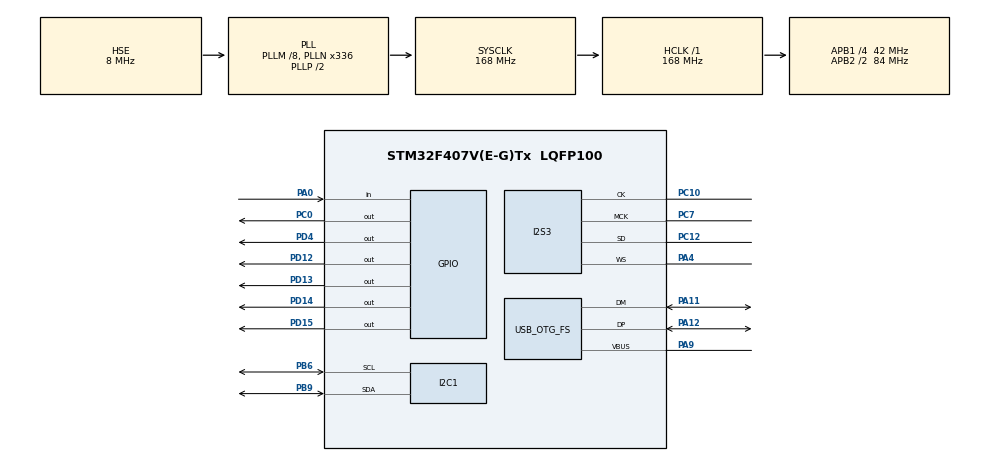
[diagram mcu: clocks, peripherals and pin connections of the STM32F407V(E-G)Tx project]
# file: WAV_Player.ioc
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Dma.Request0=SPI3_TX
Dma.SPI3_TX.0.Direction=DMA_MEMORY_TO_PERIPH
Dma.SPI3_TX.0.FIFOMode=DMA_FIFOMODE_ENABLE
Dma.SPI3_TX.0.FIFOThreshold=DMA_FIFO_THRESHOLD_FULL
Dma.SPI3_TX.0.Instance=DMA1_Stream5
Dma.SPI3_TX.0.MemBurst=DMA_MBURST_SINGLE
Dma.SPI3_TX.0.MemDataAlignment=DMA_MDATAALIGN_HALFWORD
Dma.SPI3_TX.0.MemInc=DMA_MINC_ENABLE
Dma.SPI3_TX.0.Mode=DMA_CIRCULAR
Dma.SPI3_TX.0.PeriphBurst=DMA_PBURST_SINGLE
Dma.SPI3_TX.0.PeriphDataAlignment=DMA_PDATAALIGN_HALFWORD
Dma.SPI3_TX.0.PeriphInc=DMA_PINC_DISABLE
Dma.SPI3_TX.0.Priority=DMA_PRIORITY_LOW
I2S3.AudioFreq=I2S_AUDIOFREQ_44K
I2S3.ErrorAudioFreq=0.24 %
I2S3.FullDuplexMode=I2S_FULLDUPLEXMODE_DISABLE
I2S3.Instance=SPI$Index
I2S3.RealAudioFreq=44.108 KHz
I2S3.VirtualMode=I2S_MODE_MASTER
Mcu.Family=STM32F4
Mcu.Name=STM32F407V(E-G)Tx
Mcu.Package=LQFP100
NVIC.DMA1_Stream5_IRQn=true\:0\:0\:false\:false\:true\:false\:true
NVIC.OTG_FS_IRQn=true\:0\:0\:false\:false\:true\:false\:true
NVIC.PriorityGroup=NVIC_PRIORITYGROUP_4
PA0-WKUP.Signal=GPIO_Input
PA11.Mode=Host_Only
PA11.Signal=USB_OTG_FS_DM
PA12.Mode=Host_Only
PA12.Signal=USB_OTG_FS_DP
PA4.Mode=Half_Duplex_Master
PA4.Signal=I2S3_WS
PA9.Mode=Activate_VBUS
PA9.Signal=USB_OTG_FS_VBUS
PB6.Mode=I2C
PB6.Signal=I2C1_SCL
PB9.Mode=I2C
PB9.Signal=I2C1_SDA
PC0.Signal=GPIO_Output
PC10.Mode=Half_Duplex_Master
PC10.Signal=I2S3_CK
PC12.Mode=Half_Duplex_Master
PC12.Signal=I2S3_SD
PC7.Mode=Master_Clock_Activated
PC7.Signal=I2S3_MCK
PD12.Signal=GPIO_Output
PD13.Signal=GPIO_Output
PD14.Signal=GPIO_Output
PD15.Signal=GPIO_Output
PD4.Signal=GPIO_Output
PH0-OSC_IN.Mode=HSE-External-Oscillator
PH0-OSC_IN.Signal=RCC_OSC_IN
PH1-OSC_OUT.Mode=HSE-External-Oscillator
PH1-OSC_OUT.Signal=RCC_OSC_OUT
ProjectManager.HeapSize=0x2000
ProjectManager.StackSize=0x400
ProjectManager.TargetToolchain=STM32CubeIDE
RCC.48MHZClocksFreq_Value=48000000
RCC.AHBFreq_Value=168000000
RCC.APB1CLKDivider=RCC_HCLK_DIV4
RCC.APB1Freq_Value=42000000
RCC.APB1TimFreq_Value=84000000
RCC.APB2CLKDivider=RCC_HCLK_DIV2
RCC.APB2Freq_Value=84000000
RCC.APB2TimFreq_Value=168000000
RCC.CortexFreq_Value=168000000
RCC.HCLKFreq_Value=168000000
RCC.HSE_VALUE=8000000
RCC.HSI_VALUE=16000000
RCC.LSE_VALUE=32768
RCC.PLLI2SN=271
RCC.PLLI2SR=6
RCC.PLLM=8
RCC.PLLN=336
RCC.PLLQ=7
RCC.SYSCLKFreq_VALUE=168000000
RCC.SYSCLKSource=RCC_SYSCLKSOURCE_PLLCLK
RCC.VCOOutputFreq_Value=336000000
USB_HOST.USBH_HandleTypeDef-MSC_FS=hUsbHostFS
USB_HOST.VirtualModeFS=Msc
USB_OTG_FS.VirtualMode=Host_Only
USB_OTG_FS.phy_itface=HCD_PHY_EMBEDDED
VP_FATFS_VS_USB.Mode=USB
VP_USB_HOST_VS_USB_HOST_MSC_FS.Mode=MSC_FS
board=custom

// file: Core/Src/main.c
/* USER CODE BEGIN Header */
/**
  ******************************************************************************
  * @file           : main.c
  * @brief          : Main program body
  ******************************************************************************
  * @attention
  *
  * <h2><center>&copy; Copyright (c) 2021 STMicroelectronics.
  * All rights reserved.</center></h2>
  *
  * This software component is licensed by ST under BSD 3-Clause license,
  * the "License"; You may not use this file except in compliance with the
  * License. You may obtain a copy of the License at:
  *                        opensource.org/licenses/BSD-3-Clause
  *
  ******************************************************************************
  */
/* USER CODE END Header */
#include "main.h"
#include "fatfs.h"
#include "usb_host.h"

/* USER CODE BEGIN Includes */
#include "audioI2S.h"
#include "MY_CS43L22.h"
#include "wav_player.h"

/* USER CODE END Includes */

/* USER CODE BEGIN PTD */
extern ApplicationTypeDef Appli_state; // taken from usb_host.c

/* USER CODE END PTD */

I2C_HandleTypeDef hi2c1;

I2S_HandleTypeDef hi2s3;
DMA_HandleTypeDef hdma_spi3_tx;

/* USER CODE BEGIN PV */

#define WAV_FILE1 "audio/Iraqi2.wav"

/* USER CODE END PV */

void SystemClock_Config(void);
static void MX_GPIO_Init(void);
static void MX_DMA_Init(void);
static void MX_I2C1_Init(void);
static void MX_I2S3_Init(void);
void MX_USB_HOST_Process(void);

int main(void)
{

  /* MCU Configuration--------------------------------------------------------*/

  /* Reset of all peripherals, Initializes the Flash interface and the Systick. */
  HAL_Init();

  /* Configure the system clock */
  SystemClock_Config();

  /* Initialize all configured peripherals */
  MX_GPIO_Init();
  MX_DMA_Init();
  MX_I2C1_Init();
  MX_I2S3_Init();
  MX_FATFS_Init();
  MX_USB_HOST_Init();
  /* USER CODE BEGIN 2 */
  // audio codec
  CS43_Init(hi2c1, MODE_I2S); //setup from .h file
  CS43_SetVolume(150);//0-255
  CS43_Enable_RightLeft(CS43_RIGHT_LEFT); //l/r headphone

  //init audioI2S api lib
  audioI2S_setHandle(&hi2s3); //handle contains all config of I2s

  //usb mounted
  bool isSdCardMounted=0;
  bool pauseResumeToggle=0;

  /* USER CODE END 2 */

  /* Infinite loop */
  while (1)
  {
    MX_USB_HOST_Process();

    /* USER CODE BEGIN 3 */
    if(Appli_state == APPLICATION_START) //USB connected
    {
      HAL_GPIO_WritePin(GPIOD, GPIO_PIN_12, GPIO_PIN_SET); //LED on
    }
    else if(Appli_state == APPLICATION_DISCONNECT) //unplugged
    {
        HAL_GPIO_WritePin(GPIOD, GPIO_PIN_12, GPIO_PIN_RESET); //LED off
        f_mount(NULL, (TCHAR const*)"", 0);
        isSdCardMounted = 0;
    }

    if(Appli_state == APPLICATION_READY)
    {
    	//if not mounted
    	if(!isSdCardMounted)
    	{
    		f_mount(&USBHFatFS, (const TCHAR*)USBHPath, 0); //mount USB drive to file system
    		isSdCardMounted = 1; // this mounts it
    	}

    	if(HAL_GPIO_ReadPin(GPIOA, GPIO_PIN_0)) //read button pressed (HIGH) (if = 1)
    	{
    		HAL_GPIO_WritePin(GPIOD, GPIO_PIN_13, GPIO_PIN_SET); //orange ON
    		HAL_Delay(500); //delay to get button press

    		//wav lib, select file and initiate the player (not plays music), process continously plays buffers
            wavPlayer_fileSelect(WAV_FILE1); //
            wavPlayer_play();

            //play until EOF, func found in header
            while(!wavPlayer_isFinished())
            {
            	wavPlayer_process(); //keep processing WAV file

            	//if pushbutton pressed
            	if(HAL_GPIO_ReadPin(GPIOA, GPIO_PIN_0)) //read button pressed (HIGH) (if = 1)
            	{
            		//whenever button pressed, will toggle this variable (XOR)
            		pauseResumeToggle^=1; //XOR change state from 0->1 or 1->0

            		//if variable = HIGH, pause (PAUSE = LED ON)
            		if(pauseResumeToggle)
            		{
                        HAL_GPIO_WritePin(GPIOD, GPIO_PIN_14, GPIO_PIN_SET);
                        wavPlayer_pause();
                        HAL_Delay(200);
            		}
            		else //resume (LED OFF)
            		{
                        HAL_GPIO_WritePin(GPIOD, GPIO_PIN_14, GPIO_PIN_RESET);

                        //if button long hold = completely stop playing file
                        HAL_Delay(1000);

                        //if after 1 sec button still pressed (button pressed below) = stop file
                        if(HAL_GPIO_ReadPin(GPIOA, GPIO_PIN_0))
                        {
                        	wavPlayer_stop();
                        }
                        {
                        	wavPlayer_resume();
                        }
            		}
            	}
            }
            //orange OFF after when player completely stops (long hold)
            HAL_GPIO_WritePin(GPIOD, GPIO_PIN_13, GPIO_PIN_RESET);
            HAL_Delay(1000);
    	}
    }
  }
  /* USER CODE END 3 */
}

void SystemClock_Config(void)
{
  RCC_OscInitTypeDef RCC_OscInitStruct = {0};
  RCC_ClkInitTypeDef RCC_ClkInitStruct = {0};

  /** Configure the main internal regulator output voltage
  */
  __HAL_RCC_PWR_CLK_ENABLE();
  __HAL_PWR_VOLTAGESCALING_CONFIG(PWR_REGULATOR_VOLTAGE_SCALE1);
  /** Initializes the RCC Oscillators according to the specified parameters
  * in the RCC_OscInitTypeDef structure.
  */
  RCC_OscInitStruct.OscillatorType = RCC_OSCILLATORTYPE_HSE;
  RCC_OscInitStruct.HSEState = RCC_HSE_ON;
  RCC_OscInitStruct.PLL.PLLState = RCC_PLL_ON;
  RCC_OscInitStruct.PLL.PLLSource = RCC_PLLSOURCE_HSE;
  RCC_OscInitStruct.PLL.PLLM = 8;
  RCC_OscInitStruct.PLL.PLLN = 336;
  RCC_OscInitStruct.PLL.PLLP = RCC_PLLP_DIV2;
  RCC_OscInitStruct.PLL.PLLQ = 7;
  if (HAL_RCC_OscConfig(&RCC_OscInitStruct) != HAL_OK)
  {
    Error_Handler();
  }
  /** Initializes the CPU, AHB and APB buses clocks
  */
  RCC_ClkInitStruct.ClockType = RCC_CLOCKTYPE_HCLK|RCC_CLOCKTYPE_SYSCLK
                              |RCC_CLOCKTYPE_PCLK1|RCC_CLOCKTYPE_PCLK2;
  RCC_ClkInitStruct.SYSCLKSource = RCC_SYSCLKSOURCE_PLLCLK;
  RCC_ClkInitStruct.AHBCLKDivider = RCC_SYSCLK_DIV1;
  RCC_ClkInitStruct.APB1CLKDivider = RCC_HCLK_DIV4;
  RCC_ClkInitStruct.APB2CLKDivider = RCC_HCLK_DIV2;

  if (HAL_RCC_ClockConfig(&RCC_ClkInitStruct, FLASH_LATENCY_5) != HAL_OK)
  {
    Error_Handler();
  }
}

static void MX_I2C1_Init(void)
{

  hi2c1.Instance = I2C1;
  hi2c1.Init.ClockSpeed = 100000;
  hi2c1.Init.DutyCycle = I2C_DUTYCYCLE_2;
  hi2c1.Init.OwnAddress1 = 0;
  hi2c1.Init.AddressingMode = I2C_ADDRESSINGMODE_7BIT;
  hi2c1.Init.DualAddressMode = I2C_DUALADDRESS_DISABLE;
  hi2c1.Init.OwnAddress2 = 0;
  hi2c1.Init.GeneralCallMode = I2C_GENERALCALL_DISABLE;
  hi2c1.Init.NoStretchMode = I2C_NOSTRETCH_DISABLE;
  if (HAL_I2C_Init(&hi2c1) != HAL_OK)
  {
    Error_Handler();
  }

}

static void MX_I2S3_Init(void)
{

  hi2s3.Instance = SPI3;
  hi2s3.Init.Mode = I2S_MODE_MASTER_TX;
  hi2s3.Init.Standard = I2S_STANDARD_PHILIPS;
  hi2s3.Init.DataFormat = I2S_DATAFORMAT_16B;
  hi2s3.Init.MCLKOutput = I2S_MCLKOUTPUT_ENABLE;
  hi2s3.Init.AudioFreq = I2S_AUDIOFREQ_44K;
  hi2s3.Init.CPOL = I2S_CPOL_LOW;
  hi2s3.Init.ClockSource = I2S_CLOCK_PLL;
  hi2s3.Init.FullDuplexMode = I2S_FULLDUPLEXMODE_DISABLE;
  if (HAL_I2S_Init(&hi2s3) != HAL_OK)
  {
    Error_Handler();
  }

}

static void MX_DMA_Init(void)
{

  /* DMA controller clock enable */
  __HAL_RCC_DMA1_CLK_ENABLE();

  /* DMA interrupt init */
  /* DMA1_Stream5_IRQn interrupt configuration */
  HAL_NVIC_SetPriority(DMA1_Stream5_IRQn, 0, 0);
  HAL_NVIC_EnableIRQ(DMA1_Stream5_IRQn);

}

static void MX_GPIO_Init(void)
{
  GPIO_InitTypeDef GPIO_InitStruct = {0};

  /* GPIO Ports Clock Enable */
  __HAL_RCC_GPIOH_CLK_ENABLE();
  __HAL_RCC_GPIOC_CLK_ENABLE();
  __HAL_RCC_GPIOA_CLK_ENABLE();
  __HAL_RCC_GPIOD_CLK_ENABLE();
  __HAL_RCC_GPIOB_CLK_ENABLE();

  /*Configure GPIO pin Output Level */
  HAL_GPIO_WritePin(GPIOC, GPIO_PIN_0, GPIO_PIN_RESET);

  /*Configure GPIO pin Output Level */
  HAL_GPIO_WritePin(GPIOD, GPIO_PIN_12|GPIO_PIN_13|GPIO_PIN_14|GPIO_PIN_15
                          |GPIO_PIN_4, GPIO_PIN_RESET);

  /*Configure GPIO pin : PC0 */
  GPIO_InitStruct.Pin = GPIO_PIN_0;
  GPIO_InitStruct.Mode = GPIO_MODE_OUTPUT_PP;
  GPIO_InitStruct.Pull = GPIO_NOPULL;
  GPIO_InitStruct.Speed = GPIO_SPEED_FREQ_LOW;
  HAL_GPIO_Init(GPIOC, &GPIO_InitStruct);

  /*Configure GPIO pin : PA0 */
  GPIO_InitStruct.Pin = GPIO_PIN_0;
  GPIO_InitStruct.Mode = GPIO_MODE_INPUT;
  GPIO_InitStruct.Pull = GPIO_NOPULL;
  HAL_GPIO_Init(GPIOA, &GPIO_InitStruct);

  /*Configure GPIO pins : PD12 PD13 PD14 PD15
                           PD4 */
  GPIO_InitStruct.Pin = GPIO_PIN_12|GPIO_PIN_13|GPIO_PIN_14|GPIO_PIN_15
                          |GPIO_PIN_4;
  GPIO_InitStruct.Mode = GPIO_MODE_OUTPUT_PP;
  GPIO_InitStruct.Pull = GPIO_NOPULL;
  GPIO_InitStruct.Speed = GPIO_SPEED_FREQ_LOW;
  HAL_GPIO_Init(GPIOD, &GPIO_InitStruct);

}

void Error_Handler(void)
{
  __disable_irq();
  while (1)
  {
  }
}

/************************ (C) COPYRIGHT STMicroelectronics *****END OF FILE****/
